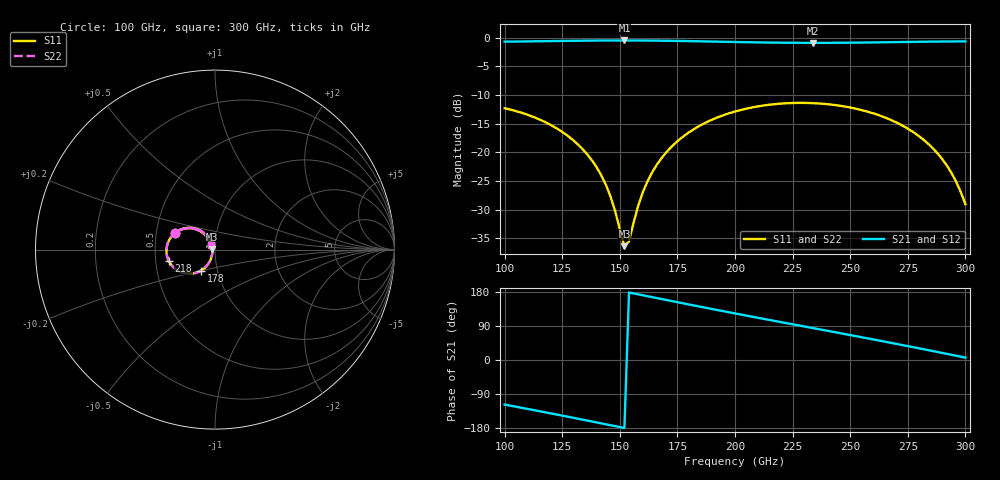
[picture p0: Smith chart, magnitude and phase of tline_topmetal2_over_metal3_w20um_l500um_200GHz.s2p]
#  GHZ S DB R 50
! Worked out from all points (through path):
!   101 points, 100 GHz to 300 GHz, reference 50 ohm
!   highest |S21| = -0.47 dB at 152 GHz (marker M1); lowest = -0.9 dB at 234 GHz (marker M2)
!   group delay of S21, straight-line fit = 3.27 ps
!   lowest |S11| = -36.3 dB at 152 GHz (marker M3), VSWR 1.03, Z = 48.5 + j0.278 ohm
!   |S11| at or under -10 dB: start of sweep to end of sweep
!   |S22| runs from -36.4 to -11.4 dB; largest |S21 - S12| = 1.1e-14
!   S11 on the Smith chart (normalised r, x): 100 GHz: 0.62, +0.12; 178 GHz: 0.83, -0.20; 218 GHz: 0.59, -0.08; 300 GHz: 0.95, +0.05
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100  -12.29 157.9  -0.68 -117.6  -0.68 -117.6  -12.29 157.9
120  -15.21 136.2  -0.58 -140.9  -0.58 -140.9  -15.20 136.3
134  -19.49 122.9  -0.51 -157.6  -0.51 -157.6  -19.49 122.9
140  -22.63 119.2  -0.48 -164.8  -0.48 -164.8  -22.63 119.3
144  -25.68 119.4  -0.47 -169.7  -0.47 -169.7  -25.68 119.4
148  -30.26 126.9  -0.47 -174.6  -0.47 -174.6  -30.27 126.8
152  -36.35 169.1  -0.47 -179.4  -0.47 -179.4  -36.39 169.2
154  -35.53 -151.0  -0.47 178.1  -0.47 178.1  -35.56 -150.8
158  -29.28 -119.3  -0.47 173.2  -0.47 173.2  -29.28 -119.1
160  -26.93 -115.4  -0.48 170.8  -0.48 170.8  -26.94 -115.2
168  -21.05 -115.4  -0.51 161.0  -0.51 161.0  -21.05 -115.3
178  -17.07 -123.7  -0.57 148.9  -0.57 148.9  -17.07 -123.6
188  -14.66 -133.9  -0.64 137.0  -0.64 137.0  -14.66 -133.8
200  -12.86 -146.7  -0.74 122.9  -0.74 122.9  -12.86 -146.6
218  -11.55 -166.0  -0.85 102.2  -0.85 102.2  -11.55 -165.9
234  -11.40 176.9  -0.88 84.0  -0.88 84.0  -11.40 177.0
250  -12.16 159.9  -0.86 65.8  -0.86 65.8  -12.16 160.0
268  -14.39 141.2  -0.77 44.9  -0.77 44.9  -14.39 141.2
280  -17.21 129.9  -0.70 30.7  -0.70 30.7  -17.21 129.8
288  -20.20 124.2  -0.66 21.0  -0.66 21.0  -20.22 123.9
294  -23.61 123.2  -0.64 13.7  -0.64 13.7  -23.64 122.6
300  -29.02 133.6  -0.63 6.4  -0.63 6.4  -29.16 132.4
